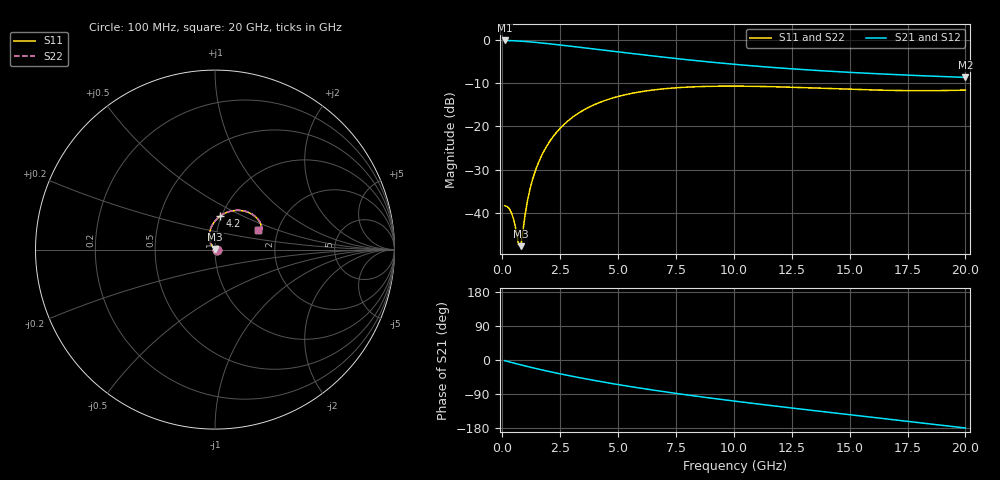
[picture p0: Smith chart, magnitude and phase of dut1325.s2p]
! Touchstone file exported from HFSS 2024.1.0
!  File:  C:/UserFiles/LocalFiles/RDL_TSV_Batchsim/temp_RDL_TSV_1325_1780388017.aedt
!  Generated:  04:27:33 PM Jun  2, 2026
!  Design:  RDL_TSV
!  Project:  temp_RDL_TSV_1325_1780388017
!  Setup:  Setup1
!  Solution:  Sweep
! Variables:
!  dtsv = 9.75um
!  hbump = 3um
!  htsv = 80.51um
!  ldown = 597.83um
!  lrdl = 163.32um
!  p = 40
!  p1 = 51.01um
!  rhole = 10um
!  subl = 2446.77um
!  t = 450um
!  tdown = 3.72um
!  trdl = 4.2um
!  viad = 10um
!  wdown = 18.48um
!  wrdl = 26.47um
!  xbump = 18um
# GHz S MA R 50.000000
! Terminal data exported
! Port[1] = TM1_1_T1
! Port[2] = TM1_4_T1
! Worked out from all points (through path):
!   200 points, 100 MHz to 20 GHz, reference 50 ohm
!   highest |S21| = -0.11 dB at 100 MHz (marker M1); lowest = -8.7 dB at 20 GHz (marker M2)
!   group delay of S21, straight-line fit = 23.3 ps
!   lowest |S11| = -47.7 dB at 800 MHz (marker M3), VSWR 1.01, Z = 50.1 + j0.41 ohm
!   |S11| at or under -10 dB: start of sweep to end of sweep
!   |S22| runs from -47.7 to -10.6 dB; largest |S21 - S12| = 2.1e-14
!   S11 on the Smith chart (normalised r, x): 100 MHz: 1.02, +0.00; 4.2 GHz: 0.99, +0.38; 20 GHz: 1.58, +0.37
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0.1  0.01213 2.0  0.9874 -1.7  0.9874 -1.7  0.01213 2.0
! Gamma 0 0 0 0
! Port Impedance 50 0 50 0
0.3  0.01123 3.3  0.9842 -4.9  0.9842 -4.9  0.01123 3.3
0.4  0.009995 4.2  0.9819 -6.5  0.9819 -6.5  0.00999 4.2
0.5  0.008263 7.1  0.9793 -8.1  0.9793 -8.1  0.008254 7.1
0.6  0.006206 15.3  0.9763 -9.7  0.9763 -9.7  0.006193 15.3
0.7  0.004318 37.8  0.9729 -11.3  0.9729 -11.3  0.004306 38.0
0.8  0.004137 82.2  0.9691 -12.8  0.9691 -12.8  0.004139 82.5
1  0.01016 123.9  0.9606 -15.9  0.9606 -15.9  0.01019 124.0
1.2  0.01906 129.4  0.951 -18.9  0.951 -18.9  0.01911 129.5
1.4  0.02927 128.4  0.9404 -21.8  0.9404 -21.8  0.02934 128.5
1.7  0.04619 123.9  0.9234 -26.0  0.9234 -26.0  0.04629 124.0
2.1  0.07048 116.4  0.8995 -31.4  0.8995 -31.4  0.07063 116.5
2.5  0.0954 108.8  0.875 -36.5  0.875 -36.5  0.0956 108.9
3.5  0.1543 91.4  0.8143 -48.6  0.8143 -48.6  0.1546 91.5
4.2  0.1894 81.0  0.7734 -56.4  0.7734 -56.4  0.1899 81.0
5.4  0.2358 66.1  0.7079 -68.8  0.7079 -68.8  0.2364 66.2
6.8  0.2697 52.5  0.6403 -82.0  0.6403 -82.0  0.2705 52.6
8.4  0.2884 40.9  0.5758 -95.7  0.5758 -95.7  0.2893 41.0
10.1  0.2928 32.0  0.5212 -109.1  0.5212 -109.1  0.2939 32.1
13.4  0.279 22.4  0.4474 -133.1  0.4474 -133.1  0.2802 22.4
16.7  0.2617 20.9  0.4011 -156.2  0.4011 -156.2  0.2629 20.9
20  0.2636 24.4  0.3692 -179.4  0.3692 -179.4  0.2647 24.3
